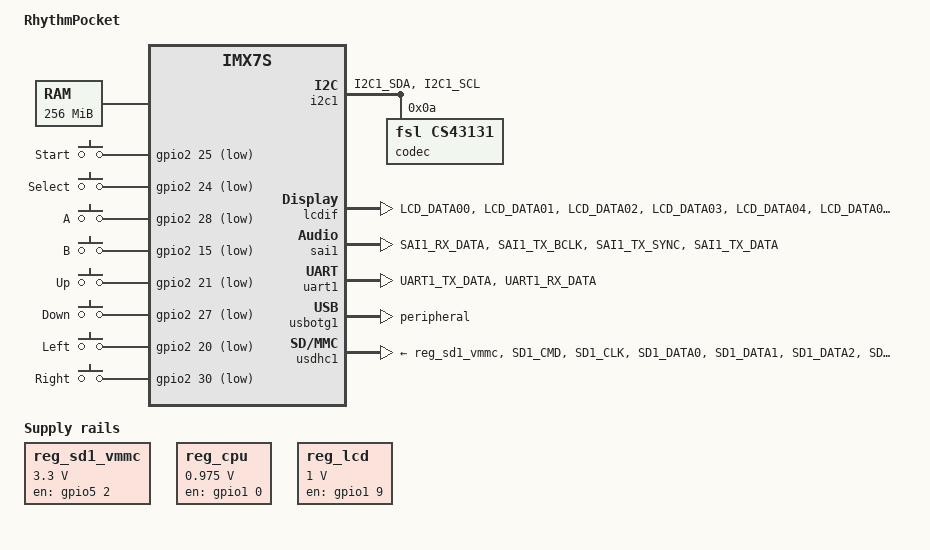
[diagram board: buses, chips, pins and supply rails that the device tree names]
/*
 * Copyright (C) 2019 Wenting Zhang <zephray@outlook.com>
 *
 * This file is dual-licensed: you can use it either under the terms
 * of the GPL or the X11 license, at your option. Note that this dual
 * licensing only applies to this file, and not this project as a
 * whole.
 *
 *  a) This file is free software; you can redistribute it and/or
 *     modify it under the terms of the GNU General Public License as
 *     published by the Free Software Foundation; either version 2 of the
 *     License, or (at your option) any later version.
 *
 *     This file is distributed in the hope that it will be useful,
 *     but WITHOUT ANY WARRANTY; without even the implied warranty of
 *     MERCHANTABILITY or FITNESS FOR A PARTICULAR PURPOSE.  See the
 *     GNU General Public License for more details.
 *
 * Or, alternatively,
 *
 *  b) Permission is hereby granted, free of charge, to any person
 *     obtaining a copy of this software and associated documentation
 *     files (the "Software"), to deal in the Software without
 *     restriction, including without limitation the rights to use,
 *     copy, modify, merge, publish, distribute, sublicense, and/or
 *     sell copies of the Software, and to permit persons to whom the
 *     Software is furnished to do so, subject to the following
 *     conditions:
 *
 *     The above copyright notice and this permission notice shall be
 *     included in all copies or substantial portions of the Software.
 *
 *     THE SOFTWARE IS PROVIDED "AS IS", WITHOUT WARRANTY OF ANY KIND,
 *     EXPRESS OR IMPLIED, INCLUDING BUT NOT LIMITED TO THE WARRANTIES
 *     OF MERCHANTABILITY, FITNESS FOR A PARTICULAR PURPOSE AND
 *     NONINFRINGEMENT. IN NO EVENT SHALL THE AUTHORS OR COPYRIGHT
 *     HOLDERS BE LIABLE FOR ANY CLAIM, DAMAGES OR OTHER LIABILITY,
 *     WHETHER IN AN ACTION OF CONTRACT, TORT OR OTHERWISE, ARISING
 *     FROM, OUT OF OR IN CONNECTION WITH THE SOFTWARE OR THE USE OR
 *     OTHER DEALINGS IN THE SOFTWARE.
 */

/dts-v1/;

#include <dt-bindings/input/input.h>
#include "imx7s.dtsi"

/ {
	model = "RhythmPocket";
	compatible = "zephray,imx7s-rhythmpocket", "fsl,imx7s";

	memory {
		reg = <0x80000000 0x10000000>;
	};

	gpio-keys {
		compatible = "gpio-keys";
		pinctrl-0 = <&pinctrl_gpio>;
		autorepeat;

		// EPDC_GDOE
		start {
			label = "Start";
			gpios = <&gpio2 25 GPIO_ACTIVE_LOW>;
			linux,code = <KEY_ENTER>;
		};

		// EPDC_GDCLK
		select {
			label = "Select";
			gpios = <&gpio2 24 GPIO_ACTIVE_LOW>;
			linux,code = <KEY_BACKSPACE>;
		};

		// EPDC_BDR0
		a {
			label = "A";
			gpios = <&gpio2 28 GPIO_ACTIVE_LOW>;
			linux,code = <KEY_A>;
		};

		// EPDC_D15
		b {
			label = "B";
			gpios = <&gpio2 15 GPIO_ACTIVE_LOW>;
			linux,code = <KEY_B>;
		};

		// EPDC_SDCE1
		up {
			label = "Up";
			gpios = <&gpio2 21 GPIO_ACTIVE_LOW>;
			linux,code = <KEY_UP>;
		};

		// EPDC_GDSP
		down {
			label = "Down";
			gpios = <&gpio2 27 GPIO_ACTIVE_LOW>;
			linux,code = <KEY_DOWN>;
		};

		// EPDC_SDCE0
		left {
			label = "Left";
			gpios = <&gpio2 20 GPIO_ACTIVE_LOW>;
			linux,code = <KEY_LEFT>;
		};

		// EPDC_PWRCOM
		right {
			label = "Right";
			gpios = <&gpio2 30 GPIO_ACTIVE_LOW>;
			linux,code = <KEY_RIGHT>;
		};
	};

	reg_sd1_vmmc: regulator-sd1-vmmc {
		compatible = "regulator-fixed";
		regulator-name = "VDD_SD1";
		regulator-min-microvolt = <3300000>;
		regulator-max-microvolt = <3300000>;
		gpio = <&gpio5 2 GPIO_ACTIVE_HIGH>;
		startup-delay-us = <200000>;
		off-on-delay = <20000>;
		enable-active-high;
	};

	// This is a fake regualtor, GPIO1_0 is not connected to anything
	reg_cpu: regulator-cpu {
		compatible = "regulator-fixed";
		regulator-name = "VDD_CORE";
		regulator-min-microvolt = <975000>;
		regulator-max-microvolt = <975000>;
		gpio = <&gpio1 0 GPIO_ACTIVE_HIGH>;
		startup-delay-us = <200000>;
		off-on-delay = <20000>;
		enable-active-high;
	};

	reg_lcd: regulator-lcd {
		compatible = "regulator-fixed";
		regulator-name = "VDD_LCD";
		regulator-min-microvolt = <1000000>;
		regulator-max-microvolt = <1000000>;
		gpio = <&gpio1 9 GPIO_ACTIVE_HIGH>;
		enable-active-high;
		regulator-always-on;
	};

	sound {
		compatible = "simple-audio-card";
		simple-audio-card,name = "imx7-cs43131";
		simple-audio-card,format = "i2s";
		simple-audio-card,bitclock-master = <&dailink_master>;
		simple-audio-card,frame-master = <&dailink_master>;
		simple-audio-card,cpu {
			sound-dai = <&sai1>;
		};

		dailink_master: simple-audio-card,codec {
			sound-dai = <&codec>;
			clocks = <&clks IMX7D_AUDIO_MCLK_ROOT_CLK>;
		};
	};
};

&cpu0 {
	arm-supply = <&reg_cpu>;
};

&i2c1 {
	pinctrl-names = "default";
	pinctrl-0 = <&pinctrl_i2c1>;
	status = "okay";

	codec: cs43131@0a {
		#sound-dai-cells = <0>;
		reg = <0x0a>;
		compatible = "fsl,cs43131";
		clocks = <&clks IMX7D_AUDIO_MCLK_ROOT_CLK>;
		pinctrl-names = "default";
		pinctrl-0 = <&pinctrl_sai1_mclk>;
	};
};

&lcdif {
	pinctrl-names = "default";
	pinctrl-0 = <&pinctrl_lcdif>;
	display = <&display0>;
	status = "okay";

	display0: display {
		bits-per-pixel = <24>;
		bus-width = <24>;

		display-timings {
			native-mode = <&timing0>;

			timing0: timing0 {
				clock-frequency = <4000000>;
				hactive = <160>;
				vactive = <144>;
				hfront-porch = <8>;
				hback-porch = <4>;
				hsync-len = <41>;
				vback-porch = <2>;
				vfront-porch = <4>;
				vsync-len = <10>;
				hsync-active = <0>;
				vsync-active = <0>;
				de-active = <1>;
				pixelclk-active = <0>;
			};
		};
	};
};

&sai1 {
	pinctrl-names = "default";
	pinctrl-0 = <&pinctrl_sai1>;
	assigned-clocks = <&clks IMX7D_SAI1_ROOT_SRC>,
			  <&clks IMX7D_SAI1_ROOT_CLK>;
	assigned-clock-parents = <&clks IMX7D_PLL_AUDIO_POST_DIV>;
	assigned-clock-rates = <0>, <36864000>;
	status = "okay";
};

&uart1 {
	pinctrl-names = "default";
	pinctrl-0 = <&pinctrl_uart1>;
	assigned-clocks = <&clks IMX7D_UART1_ROOT_SRC>;
	assigned-clock-parents = <&clks IMX7D_PLL_SYS_MAIN_240M_CLK>;
	status = "okay";
};

&usbotg1 {
	dr_mode = "peripheral";
	status = "okay";
};

&usdhc1 {
	pinctrl-names = "default", "state_100mhz", "state_200mhz";
	pinctrl-0 = <&pinctrl_usdhc1>, <&pinctrl_usdhc1_gpio>;
	pinctrl-1 = <&pinctrl_usdhc1_100mhz>, <&pinctrl_usdhc1_gpio>;
	pinctrl-2 = <&pinctrl_usdhc1_200mhz>, <&pinctrl_usdhc1_gpio>;
	cd-gpios = <&gpio5 0 GPIO_ACTIVE_LOW>;
	wp-gpios = <&gpio5 1 GPIO_ACTIVE_HIGH>;
	vmmc-supply = <&reg_sd1_vmmc>;
	no-1-8-v;
	keep-power-in-suspend;
	status = "okay";
};

&iomuxc {
	pinctrl_hog_1: hoggrp-1 {
		fsl,pins = <
			MX7D_PAD_GPIO1_IO09__GPIO1_IO9	0x79 /* LCD_REG_ON */
		>;
	};

	pinctrl_gpio: gpiogrp {
		fsl,pins = <
			MX7D_PAD_EPDC_GDOE__GPIO2_IO25	0x79
			MX7D_PAD_EPDC_GDCLK__GPIO2_IO24	0x79
			MX7D_PAD_EPDC_BDR0__GPIO2_IO28	0x79
			MX7D_PAD_EPDC_DATA15__GPIO2_IO15	0x79
			MX7D_PAD_EPDC_SDCE1__GPIO2_IO21	0x79
			MX7D_PAD_EPDC_GDSP__GPIO2_IO27	0x79
			MX7D_PAD_EPDC_SDCE0__GPIO2_IO20	0x79
			MX7D_PAD_EPDC_PWR_COM__GPIO2_IO30	0x79
		>;
	};

	pinctrl_i2c1: i2c1grp {
		fsl,pins = <
			MX7D_PAD_I2C1_SDA__I2C1_SDA		0x4000007f
			MX7D_PAD_I2C1_SCL__I2C1_SCL		0x4000007f
		>;
	};

	pinctrl_lcdif: lcdifgrp {
		fsl,pins = <
			MX7D_PAD_LCD_DATA00__LCD_DATA0		0x79
			MX7D_PAD_LCD_DATA01__LCD_DATA1		0x79
			MX7D_PAD_LCD_DATA02__LCD_DATA2		0x79
			MX7D_PAD_LCD_DATA03__LCD_DATA3		0x79
			MX7D_PAD_LCD_DATA04__LCD_DATA4		0x79
			MX7D_PAD_LCD_DATA05__LCD_DATA5		0x79
			MX7D_PAD_LCD_DATA06__LCD_DATA6		0x79
			MX7D_PAD_LCD_DATA07__LCD_DATA7		0x79
			MX7D_PAD_LCD_CLK__LCD_CLK		0x79
			MX7D_PAD_LCD_ENABLE__LCD_ENABLE		0x79
			MX7D_PAD_LCD_VSYNC__LCD_VSYNC		0x79
			MX7D_PAD_LCD_HSYNC__LCD_HSYNC		0x79
			MX7D_PAD_LCD_RESET__LCD_RESET		0x79
		>;
	};

	pinctrl_sai1: sai1grp {
		fsl,pins = <
			MX7D_PAD_SAI1_RX_DATA__SAI1_RX_DATA0	0x1f
			MX7D_PAD_SAI1_TX_BCLK__SAI1_TX_BCLK	0x1f
			MX7D_PAD_SAI1_TX_SYNC__SAI1_TX_SYNC	0x1f
			MX7D_PAD_SAI1_TX_DATA__SAI1_TX_DATA0	0x30
		>;
	};

	pinctrl_sai1_mclk: sai1mclkgrp {
		fsl,pins = <
			MX7D_PAD_SAI1_MCLK__SAI1_MCLK           0x1f
		>;
	};

	pinctrl_uart1: uart1grp {
		fsl,pins = <
			MX7D_PAD_UART1_TX_DATA__UART1_DCE_TX	0x79
			MX7D_PAD_UART1_RX_DATA__UART1_DCE_RX	0x79
		>;
	};

	pinctrl_usdhc1_gpio: usdhc1_gpiogrp {
		fsl,pins = <
			MX7D_PAD_SD1_CD_B__GPIO5_IO0		0x59 /* CD */
			MX7D_PAD_SD1_WP__GPIO5_IO1		0x59 /* WP */
			MX7D_PAD_SD1_RESET_B__GPIO5_IO2		0x59 /* vmmc */
			MX7D_PAD_GPIO1_IO08__SD1_VSELECT	0x59 /* VSELECT */
		>;
	};

	pinctrl_usdhc1: usdhc1grp {
		fsl,pins = <
			MX7D_PAD_SD1_CMD__SD1_CMD		0x59
			MX7D_PAD_SD1_CLK__SD1_CLK		0x19
			MX7D_PAD_SD1_DATA0__SD1_DATA0		0x59
			MX7D_PAD_SD1_DATA1__SD1_DATA1		0x59
			MX7D_PAD_SD1_DATA2__SD1_DATA2		0x59
			MX7D_PAD_SD1_DATA3__SD1_DATA3		0x59

		>;
	};

	pinctrl_usdhc1_100mhz: usdhc1grp_100mhz {
		fsl,pins = <
			MX7D_PAD_SD1_CMD__SD1_CMD		0x5a
			MX7D_PAD_SD1_CLK__SD1_CLK		0x1a
			MX7D_PAD_SD1_DATA0__SD1_DATA0		0x5a
			MX7D_PAD_SD1_DATA1__SD1_DATA1		0x5a
			MX7D_PAD_SD1_DATA2__SD1_DATA2		0x5a
			MX7D_PAD_SD1_DATA3__SD1_DATA3		0x5a
		>;
	};

	pinctrl_usdhc1_200mhz: usdhc1grp_200mhz {
		fsl,pins = <
			MX7D_PAD_SD1_CMD__SD1_CMD		0x5b
			MX7D_PAD_SD1_CLK__SD1_CLK		0x1b
			MX7D_PAD_SD1_DATA0__SD1_DATA0		0x5b
			MX7D_PAD_SD1_DATA1__SD1_DATA1		0x5b
			MX7D_PAD_SD1_DATA2__SD1_DATA2		0x5b
			MX7D_PAD_SD1_DATA3__SD1_DATA3		0x5b
		>;
	};
};
